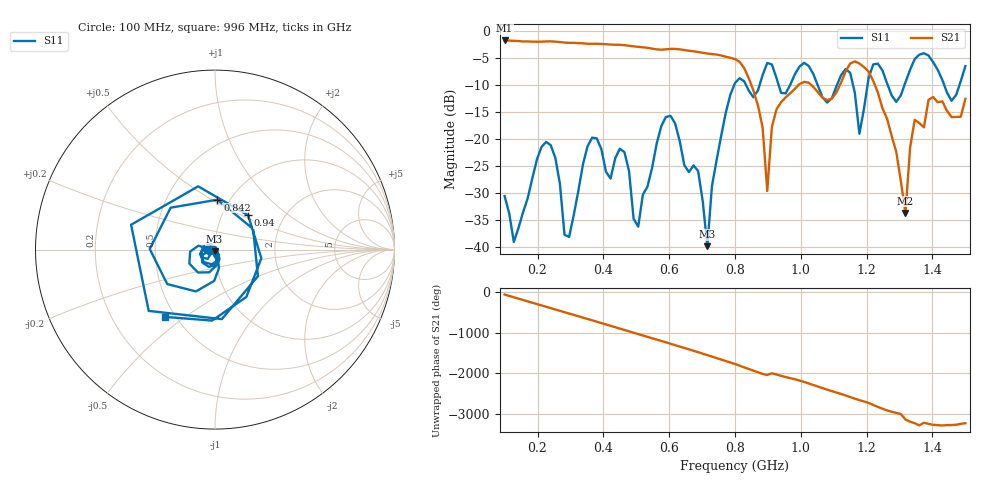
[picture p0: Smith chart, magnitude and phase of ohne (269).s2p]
! NanoVNA-App
! Date: 2025-09-25 14:22:53
! Start: 100MHz Stop: 1,5GHz Points: 101
! S-Parameter data: F S11 S21 S12 S22
# Hz S RI R 50
!  Frequency  S11_Real  S11_Imag  S21_Real  S21_Imag  S12_Real  S12_Imag  S22_Real  S22_Imag
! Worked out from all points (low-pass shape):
!   101 points, 100 MHz to 1.5 GHz, reference 50 ohm
!   highest |S21| = -1.79 dB at 100 MHz (marker M1); lowest = -33.8 dB at 1.318 GHz (marker M2)
!   |S21| within 3 dB of the highest: start of sweep to 771 MHz
!   lowest |S11| = -39.9 dB at 716 MHz (marker M3), VSWR 1.02, Z = 49.8 - j0.981 ohm
!   |S11| at or under -10 dB: start of sweep to 797.9 MHz; 833.1 MHz to 875 MHz (41.95 MHz wide, 4.91 % of centre); 1.051 GHz to 1.11 GHz (59.53 MHz wide, 5.51 % of centre)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
!   S12 and S22 are empty: the file has one direction only
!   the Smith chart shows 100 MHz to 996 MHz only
!   S11 on the Smith chart (normalised r, x): 100 MHz: 0.94, -0.01; 842 MHz: 0.88, +0.53; 940 MHz: 1.32, +0.55; 996 MHz: 0.44, -0.42
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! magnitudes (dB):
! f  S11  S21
! 100 MHz  -30.6  -1.8
! 128 MHz  -39.1  -1.9
! 226 MHz  -20.6  -2.0
! 296 MHz  -38.2  -2.2
! 338 MHz  -24.8  -2.3
! 464 MHz  -22.5  -2.7
! 506 MHz  -36.3  -3.0
! 576 MHz  -17.7  -3.5
! 688 MHz  -26.0  -3.9
! 716 MHz  -39.9  -4.2
! 800 MHz  -9.7  -5.2
! 842 MHz  -11.1  -8.8
! 898 MHz  -6.0  -29.7
! 940 MHz  -11.5  -13.2
! 996 MHz  -6.6  -9.9
! 1.038 GHz  -8.0  -10.4
! 1.178 GHz  -19.1  -6.1
! 1.22 GHz  -6.2  -9.3
! 1.276 GHz  -12.0  -19.5
! 1.318 GHz  -9.5  -33.8
! 1.346 GHz  -5.3  -16.5
! 1.5 GHz  -6.6  -12.6
